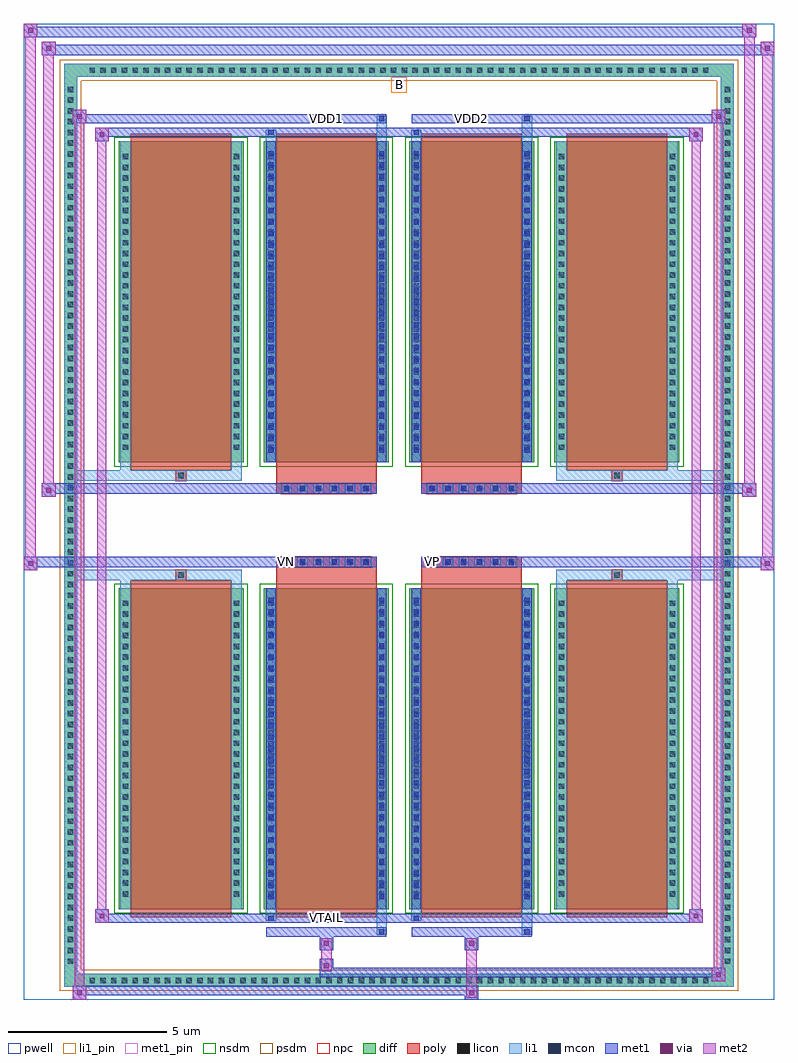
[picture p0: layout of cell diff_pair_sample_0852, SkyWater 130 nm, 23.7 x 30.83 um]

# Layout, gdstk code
import gdstk
lib = gdstk.Library(unit=1e-6, precision=5e-09)
def R(c, l, rs):  # rectangles x0, y0, x1, y1
    for r in rs: c.add(gdstk.rectangle(r[:2], r[2:], *l))
def A(c, l, x, y, w, h, nx, ny, dx, dy):  # array of equal rectangles
    R(c, l, [(x+i*dx, y+j*dy, x+i*dx+w, y+j*dy+h) for i in range(nx) for j in range(ny)])
def P(c, l, *ps):  # polygons
    for p in ps: c.add(gdstk.Polygon(p, *l))
pwell = (64, 44)
diff = (65, 20)
poly = (66, 20)
licon = (66, 44)
li1_pin = (67, 16)
li1 = (67, 20)
mcon = (67, 44)
met1_pin = (68, 16)
met1 = (68, 20)
via = (68, 44)
met2 = (69, 20)
nsdm = (93, 44)
psdm = (94, 20)
npc = (95, 20)

diff_pair_sample_0852 = lib.new_cell('diff_pair_sample_0852')
R(diff_pair_sample_0852, pwell, [(-11.85,-14.98,11.85,15.85), (-9.17,-13.17,-0.01,-0.795), (0.01,-13.17,9.17,-0.795), (-9.17,0.795,-0.01,13.17), (0.01,0.795,9.17,13.17)])
A(diff_pair_sample_0852, diff, -9.895, -14.58, 0.41, 0.41, 58, 2, 0.34, 28.75)
A(diff_pair_sample_0852, diff, -10.58, -13.975, 0.41, 0.41, 1, 82, 0, 0.34)
A(diff_pair_sample_0852, diff, 10.17, -13.975, 0.41, 0.41, 1, 82, 0, 0.34)
A(diff_pair_sample_0852, diff, -8.86, -12.125, 3.95, 10.14, 4, 2, 4.59, 14.11)
R(diff_pair_sample_0852, diff, [(-9.895,-14.58,9.895,-14.17), (-10.58,-13.975,-10.17,13.975), (10.17,-13.975,10.58,13.975), (-9.895,14.17,9.895,14.58)])
P(diff_pair_sample_0852, diff, [(10.58,14.58),(-10.58,14.58),(-10.58,-14.17),(-10.17,-14.17),(-10.17,14.17),(10.17,14.17),(10.17,-14.17),(-10.17,-14.17),(-10.58,-14.17),(-10.58,-14.58),(10.58,-14.58)])
A(diff_pair_sample_0852, poly, -8.47, -12.375, 3.17, 10.64, 4, 2, 4.59, 14.11)
A(diff_pair_sample_0852, poly, -3.71, -1.325, 0.33, 0.33, 6, 2, 0.5, 2.32)
A(diff_pair_sample_0852, poly, 0.88, -1.325, 0.33, 0.33, 6, 2, 0.5, 2.32)
R(diff_pair_sample_0852, poly, [(-7.05,-1.735,-6.72,-1.405), (-7.05,-1.735,-6.72,-1.405), (-3.88,-1.735,-0.71,-1.325), (0.71,-1.735,3.88,-1.325), (6.72,-1.735,7.05,-1.405), (6.72,-1.735,7.05,-1.405), (-3.88,-1.325,-0.71,-0.995), (0.71,-1.325,3.88,-0.995), (-3.88,0.995,-0.71,1.325), (0.71,0.995,3.88,1.325), (-3.88,1.325,-0.71,1.735), (0.71,1.325,3.88,1.735), (-7.05,1.405,-6.72,1.735), (-7.05,1.405,-6.72,1.735), (6.72,1.405,7.05,1.735), (6.72,1.405,7.05,1.735)])
A(diff_pair_sample_0852, licon, -9.775, -14.46, 0.17, 0.17, 58, 2, 0.34, 28.75)
A(diff_pair_sample_0852, licon, -10.46, -13.855, 0.17, 0.17, 1, 82, 0, 0.34)
A(diff_pair_sample_0852, licon, 10.29, -13.855, 0.17, 0.17, 1, 82, 0, 0.34)
A(diff_pair_sample_0852, licon, -8.72, -11.73, 0.17, 0.17, 1, 28, 0, 0.34)
A(diff_pair_sample_0852, licon, -5.22, -11.73, 0.17, 0.17, 1, 28, 0, 0.34)
A(diff_pair_sample_0852, licon, -4.13, -11.73, 0.17, 0.17, 1, 28, 0, 0.34)
A(diff_pair_sample_0852, licon, -0.63, -11.73, 0.17, 0.17, 1, 28, 0, 0.34)
A(diff_pair_sample_0852, licon, 0.46, -11.73, 0.17, 0.17, 1, 28, 0, 0.34)
A(diff_pair_sample_0852, licon, 3.96, -11.73, 0.17, 0.17, 1, 28, 0, 0.34)
A(diff_pair_sample_0852, licon, 5.05, -11.73, 0.17, 0.17, 1, 28, 0, 0.34)
A(diff_pair_sample_0852, licon, 8.55, -11.73, 0.17, 0.17, 1, 28, 0, 0.34)
A(diff_pair_sample_0852, licon, -3.63, -1.245, 0.17, 0.17, 6, 2, 0.5, 2.32)
A(diff_pair_sample_0852, licon, 0.96, -1.245, 0.17, 0.17, 6, 2, 0.5, 2.32)
A(diff_pair_sample_0852, licon, -8.72, 2.38, 0.17, 0.17, 1, 28, 0, 0.34)
A(diff_pair_sample_0852, licon, -5.22, 2.38, 0.17, 0.17, 1, 28, 0, 0.34)
A(diff_pair_sample_0852, licon, -4.13, 2.38, 0.17, 0.17, 1, 28, 0, 0.34)
A(diff_pair_sample_0852, licon, -0.63, 2.38, 0.17, 0.17, 1, 28, 0, 0.34)
A(diff_pair_sample_0852, licon, 0.46, 2.38, 0.17, 0.17, 1, 28, 0, 0.34)
A(diff_pair_sample_0852, licon, 3.96, 2.38, 0.17, 0.17, 1, 28, 0, 0.34)
A(diff_pair_sample_0852, licon, 5.05, 2.38, 0.17, 0.17, 1, 28, 0, 0.34)
A(diff_pair_sample_0852, licon, 8.55, 2.38, 0.17, 0.17, 1, 28, 0, 0.34)
R(diff_pair_sample_0852, licon, [(-6.97,-1.655,-6.8,-1.485), (6.8,-1.655,6.97,-1.485), (-6.97,1.485,-6.8,1.655), (6.8,1.485,6.97,1.655)])
R(diff_pair_sample_0852, li1_pin, [(-0.25,13.67,0.25,14.17)])
A(diff_pair_sample_0852, li1, -9.855, -14.54, 0.33, 0.33, 58, 2, 0.34, 28.75)
A(diff_pair_sample_0852, li1, -10.54, -13.935, 0.33, 0.33, 1, 82, 0, 0.34)
A(diff_pair_sample_0852, li1, 10.21, -13.935, 0.33, 0.33, 1, 82, 0, 0.34)
A(diff_pair_sample_0852, li1, -4.13, -11.82, 0.17, 0.17, 1, 27, 0, 0.36)
A(diff_pair_sample_0852, li1, -0.63, -11.82, 0.17, 0.17, 1, 27, 0, 0.36)
A(diff_pair_sample_0852, li1, 0.46, -11.82, 0.17, 0.17, 1, 27, 0, 0.36)
A(diff_pair_sample_0852, li1, 3.96, -11.82, 0.17, 0.17, 1, 27, 0, 0.36)
A(diff_pair_sample_0852, li1, -8.8, -11.81, 0.33, 0.33, 1, 28, 0, 0.34)
A(diff_pair_sample_0852, li1, -5.3, -11.81, 0.33, 0.33, 1, 28, 0, 0.34)
A(diff_pair_sample_0852, li1, -4.21, -11.81, 0.33, 0.33, 1, 28, 0, 0.34)
A(diff_pair_sample_0852, li1, -0.71, -11.81, 0.33, 0.33, 1, 28, 0, 0.34)
A(diff_pair_sample_0852, li1, 0.38, -11.81, 0.33, 0.33, 1, 28, 0, 0.34)
A(diff_pair_sample_0852, li1, 3.88, -11.81, 0.33, 0.33, 1, 28, 0, 0.34)
A(diff_pair_sample_0852, li1, 4.97, -11.81, 0.33, 0.33, 1, 28, 0, 0.34)
A(diff_pair_sample_0852, li1, 8.47, -11.81, 0.33, 0.33, 1, 28, 0, 0.34)
A(diff_pair_sample_0852, li1, -3.71, -1.325, 0.33, 0.33, 6, 2, 0.5, 2.32)
A(diff_pair_sample_0852, li1, 0.88, -1.325, 0.33, 0.33, 6, 2, 0.5, 2.32)
A(diff_pair_sample_0852, li1, -4.13, 2.29, 0.17, 0.17, 1, 27, 0, 0.36)
A(diff_pair_sample_0852, li1, -0.63, 2.29, 0.17, 0.17, 1, 27, 0, 0.36)
A(diff_pair_sample_0852, li1, 0.46, 2.29, 0.17, 0.17, 1, 27, 0, 0.36)
A(diff_pair_sample_0852, li1, 3.96, 2.29, 0.17, 0.17, 1, 27, 0, 0.36)
A(diff_pair_sample_0852, li1, -8.8, 2.3, 0.33, 0.33, 1, 28, 0, 0.34)
A(diff_pair_sample_0852, li1, -5.3, 2.3, 0.33, 0.33, 1, 28, 0, 0.34)
A(diff_pair_sample_0852, li1, -4.21, 2.3, 0.33, 0.33, 1, 28, 0, 0.34)
A(diff_pair_sample_0852, li1, -0.71, 2.3, 0.33, 0.33, 1, 28, 0, 0.34)
A(diff_pair_sample_0852, li1, 0.38, 2.3, 0.33, 0.33, 1, 28, 0, 0.34)
A(diff_pair_sample_0852, li1, 3.88, 2.3, 0.33, 0.33, 1, 28, 0, 0.34)
A(diff_pair_sample_0852, li1, 4.97, 2.3, 0.33, 0.33, 1, 28, 0, 0.34)
A(diff_pair_sample_0852, li1, 8.47, 2.3, 0.33, 0.33, 1, 28, 0, 0.34)
R(diff_pair_sample_0852, li1, [(-10.58,-14.58,-10.17,-14.17), (-10.58,-14.58,-10.17,-14.17), (-10.17,-14.58,10.17,-14.17), (10.17,-14.58,10.58,-14.17), (10.17,-14.58,10.58,-14.17), (-10.58,-14.17,-10.17,14.17), (10.17,-14.17,10.58,14.17), (-0.71,-12.93,-0.38,-12.125), (-0.63,-12.93,-0.46,-12.76), (3.88,-12.93,4.21,-12.125), (3.96,-12.93,4.13,-12.76), (-4.21,-12.5,-3.88,-12.125), (-4.13,-12.5,-3.96,-12.33), (0.38,-12.5,0.71,-12.125), (0.46,-12.5,0.63,-12.33), (-8.8,-12.125,-8.47,-1.985), (-5.3,-12.125,-4.97,-1.985), (-4.21,-12.125,-3.88,-1.985), (-0.71,-12.125,-0.38,-1.985), (0.38,-12.125,0.71,-1.985), (3.88,-12.125,4.21,-1.985), (4.97,-12.125,5.3,-1.985), (8.47,-12.125,8.8,-1.985), (-4.13,-11.82,-3.96,-2.29), (-0.63,-11.82,-0.46,-2.29), (0.46,-11.82,0.63,-2.29), (3.96,-11.82,4.13,-2.29), (-8.8,-1.985,-8.47,-1.405), (-5.3,-1.985,-4.97,-1.405), (4.97,-1.985,5.3,-1.405), (8.47,-1.985,8.8,-1.405), (-10.58,-1.735,-7.05,-1.405), (-8.8,-1.735,-7.05,-1.405), (-7.05,-1.735,-6.72,-1.405), (-6.72,-1.735,-4.97,-1.405), (4.97,-1.735,6.72,-1.405), (6.72,-1.735,7.05,-1.405), (6.72,-1.735,10.58,-1.405), (7.05,-1.735,8.8,-1.405), (-10.58,1.405,-7.05,1.735), (-8.8,1.405,-7.05,1.735), (-8.8,1.405,-8.47,1.985), (-7.05,1.405,-6.72,1.735), (-6.72,1.405,-4.97,1.735), (-5.3,1.405,-4.97,1.985), (4.97,1.405,6.72,1.735), (4.97,1.405,5.3,1.985), (6.72,1.405,7.05,1.735), (6.72,1.405,10.58,1.735), (7.05,1.405,8.8,1.735), (8.47,1.405,8.8,1.985), (-8.8,1.985,-8.47,12.125), (-5.3,1.985,-4.97,12.125), (-4.21,1.985,-3.88,12.125), (-0.71,1.985,-0.38,12.125), (0.38,1.985,0.71,12.125), (3.88,1.985,4.21,12.125), (4.97,1.985,5.3,12.125), (8.47,1.985,8.8,12.125), (-4.13,2.29,-3.96,11.82), (-0.63,2.29,-0.46,11.82), (0.46,2.29,0.63,11.82), (3.96,2.29,4.13,11.82), (-4.21,12.125,-3.88,12.5), (-0.71,12.125,-0.38,12.93), (0.38,12.125,0.71,12.5), (3.88,12.125,4.21,12.93), (-4.13,12.33,-3.96,12.5), (0.46,12.33,0.63,12.5), (-0.63,12.76,-0.46,12.93), (3.96,12.76,4.13,12.93), (-10.58,14.17,-10.17,14.58), (-10.58,14.17,-10.17,14.58), (-10.17,14.17,10.17,14.58), (10.17,14.17,10.58,14.58), (10.17,14.17,10.58,14.58)])
A(diff_pair_sample_0852, mcon, -4.13, -11.82, 0.17, 0.17, 1, 27, 0, 0.36)
A(diff_pair_sample_0852, mcon, -0.63, -11.82, 0.17, 0.17, 1, 27, 0, 0.36)
A(diff_pair_sample_0852, mcon, 0.46, -11.82, 0.17, 0.17, 1, 27, 0, 0.36)
A(diff_pair_sample_0852, mcon, 3.96, -11.82, 0.17, 0.17, 1, 27, 0, 0.36)
A(diff_pair_sample_0852, mcon, -3.63, -1.245, 0.17, 0.17, 6, 2, 0.5, 2.32)
A(diff_pair_sample_0852, mcon, 0.96, -1.245, 0.17, 0.17, 6, 2, 0.5, 2.32)
A(diff_pair_sample_0852, mcon, -4.13, 2.29, 0.17, 0.17, 1, 27, 0, 0.36)
A(diff_pair_sample_0852, mcon, -0.63, 2.29, 0.17, 0.17, 1, 27, 0, 0.36)
A(diff_pair_sample_0852, mcon, 0.46, 2.29, 0.17, 0.17, 1, 27, 0, 0.36)
A(diff_pair_sample_0852, mcon, 3.96, 2.29, 0.17, 0.17, 1, 27, 0, 0.36)
R(diff_pair_sample_0852, mcon, [(-0.63,-12.93,-0.46,-12.76), (3.96,-12.93,4.13,-12.76), (-4.13,-12.5,-3.96,-12.33), (0.46,-12.5,0.63,-12.33), (-4.13,12.33,-3.96,12.5), (0.46,12.33,0.63,12.5), (-0.63,12.76,-0.46,12.93), (3.96,12.76,4.13,12.93)])
R(diff_pair_sample_0852, met1_pin, [(-2.43,-12.54,-2.16,-12.27), (-3.68,-1.285,-3.41,-1.015), (0.91,-1.285,1.18,-1.015), (-2.43,12.72,-2.16,12.99), (2.16,12.72,2.43,12.99)])
A(diff_pair_sample_0852, met1, -4.19, -11.88, 0.29, 0.29, 1, 27, 0, 0.36)
A(diff_pair_sample_0852, met1, -0.69, -11.88, 0.29, 0.29, 1, 27, 0, 0.36)
A(diff_pair_sample_0852, met1, 0.4, -11.88, 0.29, 0.29, 1, 27, 0, 0.36)
A(diff_pair_sample_0852, met1, 3.9, -11.88, 0.29, 0.29, 1, 27, 0, 0.36)
A(diff_pair_sample_0852, met1, -3.69, -1.305, 0.29, 0.29, 6, 2, 0.5, 2.32)
A(diff_pair_sample_0852, met1, 0.9, -1.305, 0.29, 0.29, 6, 2, 0.5, 2.32)
A(diff_pair_sample_0852, met1, -4.19, 2.23, 0.29, 0.29, 1, 27, 0, 0.36)
A(diff_pair_sample_0852, met1, -0.69, 2.23, 0.29, 0.29, 1, 27, 0, 0.36)
A(diff_pair_sample_0852, met1, 0.4, 2.23, 0.29, 0.29, 1, 27, 0, 0.36)
A(diff_pair_sample_0852, met1, 3.9, 2.23, 0.29, 0.29, 1, 27, 0, 0.36)
R(diff_pair_sample_0852, met1, [(-10.31,-14.98,-9.88,-14.55), (2.08,-14.98,2.51,-14.55), (-10.31,-14.84,2.51,-14.55), (9.88,-14.41,10.31,-13.98), (-2.51,-14.27,10.31,-13.98), (-2.51,-14.13,-2.08,-13.7), (-2.51,-13.42,-2.08,-12.99), (2.08,-13.42,2.51,-12.99), (-4.19,-12.99,-0.4,-12.7), (-0.69,-12.99,-0.4,-12.7), (0.4,-12.99,4.19,-12.7), (3.9,-12.99,4.19,-12.7), (-9.6,-12.56,-9.17,-12.13), (-9.6,-12.56,-4.19,-12.27), (-4.19,-12.56,-3.9,-12.27), (-4.19,-12.56,-0.4,-12.27), (-0.4,-12.56,0.4,-12.27), (0.4,-12.56,0.69,-12.27), (0.4,-12.56,4.19,-12.27), (4.19,-12.56,9.6,-12.27), (9.17,-12.56,9.6,-12.13), (-4.19,-12.125,-3.9,-1.985), (-0.69,-12.125,-0.4,-1.985), (0.4,-12.125,0.69,-1.985), (3.9,-12.125,4.19,-1.985), (-11.85,-1.425,-11.42,-0.995), (11.42,-1.425,11.85,-0.995), (-11.85,-1.325,-0.71,-0.995), (-3.88,-1.325,-0.71,-0.995), (0.71,-1.325,3.88,-0.995), (0.71,-1.325,11.85,-0.995), (-11.28,0.895,-10.85,1.325), (10.85,0.895,11.28,1.325), (-11.28,0.995,-3.88,1.325), (-3.88,0.995,-0.71,1.325), (0.71,0.995,3.88,1.325), (3.88,0.995,11.28,1.325), (-4.19,1.985,-3.9,12.125), (-0.69,1.985,-0.4,12.125), (0.4,1.985,0.69,12.125), (3.9,1.985,4.19,12.125), (-9.6,12.13,-9.17,12.56), (9.17,12.13,9.6,12.56), (-9.6,12.27,-4.19,12.56), (-4.19,12.27,-3.9,12.56), (-4.19,12.27,-0.4,12.56), (-0.4,12.27,0.4,12.56), (0.4,12.27,0.69,12.56), (0.4,12.27,4.19,12.56), (4.19,12.27,9.6,12.56), (-10.31,12.7,-9.88,13.13), (-10.31,12.7,-4.19,12.99), (-4.19,12.7,-0.4,12.99), (-0.69,12.7,-0.4,12.99), (0.4,12.7,4.19,12.99), (3.9,12.7,4.19,12.99), (4.19,12.7,10.31,12.99), (9.88,12.7,10.31,13.13), (-11.28,14.85,-10.85,15.28), (-11.28,14.85,-9.17,15.18), (-9.17,14.85,9.17,15.18), (9.17,14.85,11.85,15.18), (11.42,14.85,11.85,15.28), (-11.85,15.42,-11.42,15.85), (-11.85,15.42,-9.17,15.75), (-9.17,15.42,9.17,15.75), (9.17,15.42,11.28,15.75), (10.85,15.42,11.28,15.85)])
R(diff_pair_sample_0852, via, [(-10.17,-14.84,-10.02,-14.69), (2.22,-14.84,2.37,-14.69), (10.02,-14.27,10.17,-14.12), (-2.37,-13.99,-2.22,-13.84), (-2.37,-13.28,-2.22,-13.13), (2.22,-13.28,2.37,-13.13), (-9.46,-12.42,-9.31,-12.27), (9.31,-12.42,9.46,-12.27), (-11.71,-1.285,-11.56,-1.135), (11.56,-1.285,11.71,-1.135), (-11.14,1.035,-10.99,1.185), (10.99,1.035,11.14,1.185), (-9.46,12.27,-9.31,12.42), (9.31,12.27,9.46,12.42), (-10.17,12.84,-10.02,12.99), (10.02,12.84,10.17,12.99), (-11.14,14.99,-10.99,15.14), (11.56,14.99,11.71,15.14), (-11.71,15.56,-11.56,15.71), (10.99,15.56,11.14,15.71)])
R(diff_pair_sample_0852, met2, [(-10.31,-14.98,-9.88,-14.55), (-10.24,-14.98,-9.95,13.13), (-9.95,-14.98,-9.88,-14.55), (-10.26,-14.93,-9.93,-14.6), (2.13,-14.93,2.46,-14.6), (2.13,-14.6,2.46,-13.37), (9.88,-14.41,10.31,-13.98), (9.95,-14.41,10.24,13.13), (10.24,-14.41,10.31,-13.98), (9.93,-14.36,10.26,-14.03), (-2.46,-14.08,-2.13,-13.75), (-2.46,-13.75,-2.13,-13.37), (-2.46,-13.37,-2.13,-13.04), (2.13,-13.37,2.46,-13.04), (-9.6,-12.56,-9.17,-12.13), (-9.53,-12.56,-9.24,12.56), (-9.24,-12.56,-9.17,-12.13), (9.17,-12.56,9.6,-12.13), (9.24,-12.56,9.53,12.56), (9.53,-12.56,9.6,-12.13), (-9.55,-12.51,-9.22,-12.18), (9.22,-12.51,9.55,-12.18), (-11.85,-1.425,-11.42,-0.995), (-11.8,-1.425,-11.47,15.85), (-11.47,-1.425,-11.42,-0.995), (11.42,-1.425,11.85,-0.995), (11.47,-1.425,11.8,15.28), (11.8,-1.425,11.85,-0.995), (-11.8,-1.375,-11.47,-1.045), (11.47,-1.375,11.8,-1.045), (-11.28,0.895,-10.85,1.325), (-11.23,0.895,-10.9,15.28), (-10.9,0.895,-10.85,1.325), (10.85,0.895,11.28,1.325), (10.9,0.895,11.23,15.85), (11.23,0.895,11.28,1.325), (-11.23,0.945,-10.9,1.275), (10.9,0.945,11.23,1.275), (-9.6,12.13,-9.17,12.56), (-9.24,12.13,-9.17,12.56), (9.17,12.13,9.6,12.56), (9.53,12.13,9.6,12.56), (-9.55,12.18,-9.22,12.51), (9.22,12.18,9.55,12.51), (-10.31,12.7,-9.88,13.13), (-9.95,12.7,-9.88,13.13), (9.88,12.7,10.31,13.13), (10.24,12.7,10.31,13.13), (-10.26,12.75,-9.93,13.08), (9.93,12.75,10.26,13.08), (-11.28,14.85,-10.85,15.28), (-10.9,14.85,-10.85,15.28), (11.42,14.85,11.85,15.28), (11.8,14.85,11.85,15.28), (-11.23,14.9,-10.9,15.23), (11.47,14.9,11.8,15.23), (-11.85,15.42,-11.42,15.85), (-11.47,15.42,-11.42,15.85), (10.85,15.42,11.28,15.85), (11.23,15.42,11.28,15.85), (-11.8,15.47,-11.47,15.8), (10.9,15.47,11.23,15.8)])
A(diff_pair_sample_0852, nsdm, -8.99, -12.255, 4.21, 10.4, 4, 2, 4.59, 14.11)
P(diff_pair_sample_0852, psdm, [(10.71,14.71),(-10.71,14.71),(-10.71,-14.04),(-10.04,-14.04),(-10.04,14.04),(10.04,14.04),(10.04,-14.04),(-10.04,-14.04),(-10.71,-14.04),(-10.71,-14.71),(10.71,-14.71)])
A(diff_pair_sample_0852, npc, -3.73, -1.345, 0.37, 0.37, 6, 2, 0.5, 2.32)
A(diff_pair_sample_0852, npc, 0.86, -1.345, 0.37, 0.37, 6, 2, 0.5, 2.32)
R(diff_pair_sample_0852, npc, [(-7.07,-1.755,-6.7,-1.385), (6.7,-1.755,7.07,-1.385), (-3.73,-1.345,-2.86,-0.975), (-3.73,-1.345,-2.86,-0.975), (-3.23,-1.345,-2.36,-0.975), (-3.23,-1.345,-2.36,-0.975), (-2.73,-1.345,-1.86,-0.975), (-2.73,-1.345,-1.86,-0.975), (-2.23,-1.345,-1.36,-0.975), (-2.23,-1.345,-1.36,-0.975), (-1.73,-1.345,-0.86,-0.975), (-1.73,-1.345,-0.86,-0.975), (0.86,-1.345,1.73,-0.975), (0.86,-1.345,1.73,-0.975), (1.36,-1.345,2.23,-0.975), (1.36,-1.345,2.23,-0.975), (1.86,-1.345,2.73,-0.975), (1.86,-1.345,2.73,-0.975), (2.36,-1.345,3.23,-0.975), (2.36,-1.345,3.23,-0.975), (2.86,-1.345,3.73,-0.975), (2.86,-1.345,3.73,-0.975), (-3.73,0.975,-2.86,1.345), (-3.73,0.975,-2.86,1.345), (-3.23,0.975,-2.36,1.345), (-3.23,0.975,-2.36,1.345), (-2.73,0.975,-1.86,1.345), (-2.73,0.975,-1.86,1.345), (-2.23,0.975,-1.36,1.345), (-2.23,0.975,-1.36,1.345), (-1.73,0.975,-0.86,1.345), (-1.73,0.975,-0.86,1.345), (0.86,0.975,1.73,1.345), (0.86,0.975,1.73,1.345), (1.36,0.975,2.23,1.345), (1.36,0.975,2.23,1.345), (1.86,0.975,2.73,1.345), (1.86,0.975,2.73,1.345), (2.36,0.975,3.23,1.345), (2.36,0.975,3.23,1.345), (2.86,0.975,3.73,1.345), (2.86,0.975,3.73,1.345), (-7.07,1.385,-6.7,1.755), (6.7,1.385,7.07,1.755)])
diff_pair_sample_0852.add(gdstk.Label('VTAIL', (-2.295,-12.405), layer=68, texttype=5))
diff_pair_sample_0852.add(gdstk.Label('VN', (-3.545,-1.15), layer=68, texttype=5))
diff_pair_sample_0852.add(gdstk.Label('VP', (1.045,-1.15), layer=68, texttype=5))
diff_pair_sample_0852.add(gdstk.Label('B', (0,13.92), layer=67, texttype=5))
diff_pair_sample_0852.add(gdstk.Label('VDD2', (2.295,12.855), layer=68, texttype=5))
diff_pair_sample_0852.add(gdstk.Label('VDD1', (-2.295,12.855), layer=68, texttype=5))

lib.write_gds('diff_pair_sample_0852.gds')
